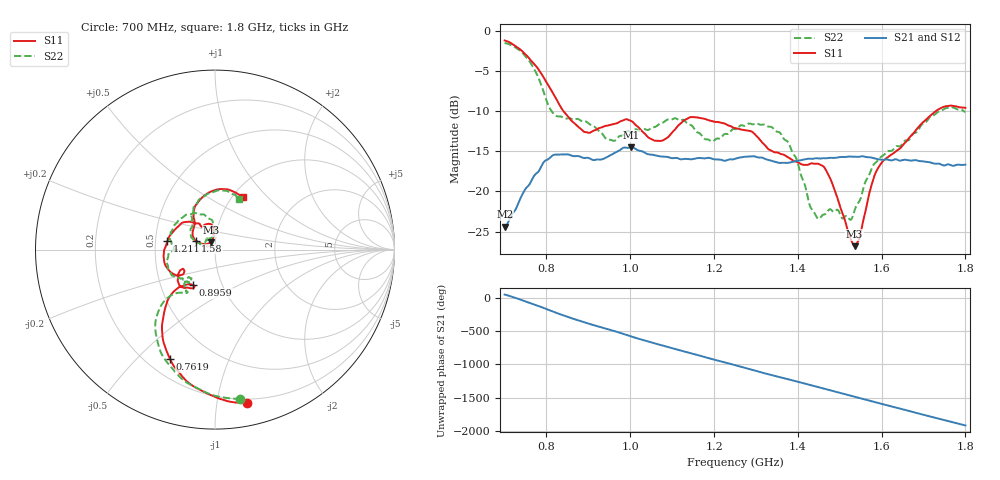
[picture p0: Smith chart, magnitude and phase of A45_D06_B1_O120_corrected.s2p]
! Created with skrf 1.9.0 (http://scikit-rf.org).
# Hz S RI R 50.0
!freq ReS11 ImS11 ReS21 ImS21 ReS12 ImS12 ReS22 ImS22
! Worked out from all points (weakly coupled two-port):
!   1601 points, 700 MHz to 1.8 GHz, reference 50 ohm
!   highest |S21| = -14.48 dB at 1.002 GHz (marker M1); lowest = -24.4 dB at 700.7 MHz (marker M2)
!   lowest |S11| = -26.8 dB at 1.535 GHz (marker M3), VSWR 1.10, Z = 47.7 + j3.79 ohm
!   |S11| at or under -10 dB: 840.4 MHz to 1.729 GHz (889 MHz wide, 69.2 % of centre)
!   |S22| runs from -23.5 to -1.5 dB; largest |S21 - S12| = 0.0035
!   S11 on the Smith chart (normalised r, x): 700 MHz: 0.17, -1.21; 761.9 MHz: 0.29, -0.63; 895.9 MHz: 0.72, -0.30; 1.211 GHz: 0.58, +0.06; 1.58 GHz: 0.80, +0.08; 1.8 GHz: 1.12, +0.73
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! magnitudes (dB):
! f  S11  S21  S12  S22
! 700 MHz  -1.2  -24.4  -24.2  -1.5
! 700.7 MHz  -1.2  -24.4  -24.1  -1.5
! 761.9 MHz  -3.6  -18.9  -18.8  -4.0
! 816.2 MHz  -7.8  -15.5  -15.6  -10.3
! 883.6 MHz  -12.3  -15.7  -15.6  -11.2
! 895.9 MHz  -12.6  -15.8  -15.9  -11.3
! 957.1 MHz  -11.7  -15.4  -15.4  -13.7
! 1.002 GHz  -11.2  -14.5  -14.6  -12.6
! 1.067 GHz  -13.7  -15.6  -15.5  -11.7
! 1.143 GHz  -10.8  -16.0  -16.0  -11.7
! 1.211 GHz  -11.4  -16.0  -16.0  -13.4
! 1.25 GHz  -12.1  -15.9  -15.9  -12.2
! 1.358 GHz  -15.3  -16.5  -16.4  -12.7
! 1.396 GHz  -16.3  -16.2  -16.2  -15.9
! 1.434 GHz  -16.5  -16.0  -15.9  -22.3
! 1.471 GHz  -17.7  -15.8  -15.8  -22.5
! 1.535 GHz  -26.8  -15.7  -15.7  -22.4
! 1.548 GHz  -25.7  -15.7  -15.7  -21.2
! 1.58 GHz  -18.5  -15.8  -15.8  -16.7
! 1.617 GHz  -15.6  -16.1  -16.0  -15.0
! 1.734 GHz  -9.8  -16.5  -16.6  -10.1
! 1.8 GHz  -9.6  -16.7  -16.7  -10.1
